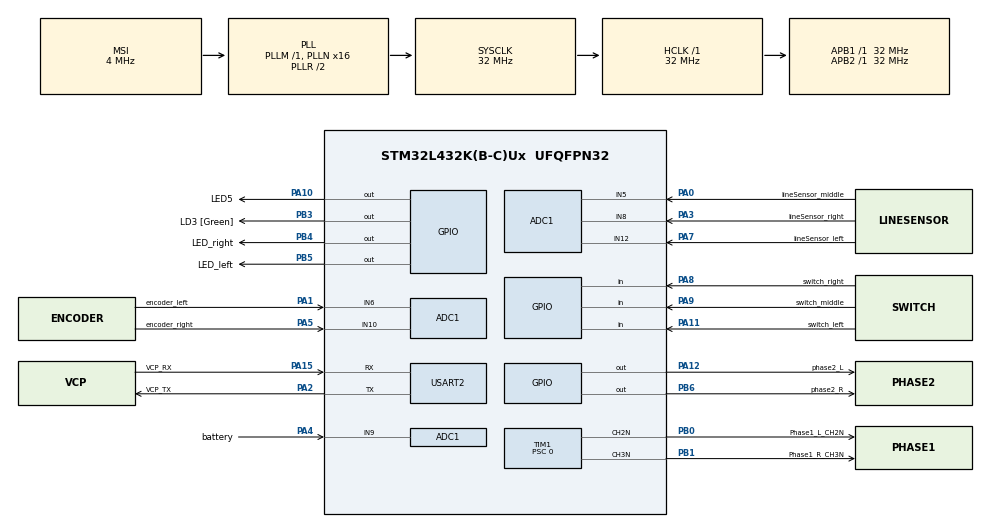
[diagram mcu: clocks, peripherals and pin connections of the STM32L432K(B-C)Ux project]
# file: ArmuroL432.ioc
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ADC1.Channel-0\#ChannelRegularConversion=ADC_CHANNEL_5
ADC1.Channel-1\#ChannelRegularConversion=ADC_CHANNEL_6
ADC1.Channel-2\#ChannelRegularConversion=ADC_CHANNEL_8
ADC1.Channel-3\#ChannelRegularConversion=ADC_CHANNEL_9
ADC1.Channel-4\#ChannelRegularConversion=ADC_CHANNEL_10
ADC1.Channel-5\#ChannelRegularConversion=ADC_CHANNEL_12
ADC1.ClockPrescaler=ADC_CLOCK_ASYNC_DIV4
ADC1.ContinuousConvMode=ENABLE
ADC1.EOCSelection=ADC_EOC_SEQ_CONV
ADC1.NbrOfConversion=6
ADC1.NbrOfConversionFlag=1
ADC1.OffsetNumber-0\#ChannelRegularConversion=ADC_OFFSET_NONE
ADC1.OffsetNumber-1\#ChannelRegularConversion=ADC_OFFSET_NONE
ADC1.OffsetNumber-2\#ChannelRegularConversion=ADC_OFFSET_NONE
ADC1.OffsetNumber-3\#ChannelRegularConversion=ADC_OFFSET_NONE
ADC1.OffsetNumber-4\#ChannelRegularConversion=ADC_OFFSET_NONE
ADC1.OffsetNumber-5\#ChannelRegularConversion=ADC_OFFSET_NONE
ADC1.Rank-0\#ChannelRegularConversion=1
ADC1.Rank-1\#ChannelRegularConversion=2
ADC1.Rank-2\#ChannelRegularConversion=3
ADC1.Rank-3\#ChannelRegularConversion=4
ADC1.Rank-4\#ChannelRegularConversion=5
ADC1.Rank-5\#ChannelRegularConversion=6
ADC1.SamplingTime-0\#ChannelRegularConversion=ADC_SAMPLETIME_2CYCLES_5
ADC1.SamplingTime-1\#ChannelRegularConversion=ADC_SAMPLETIME_2CYCLES_5
ADC1.SamplingTime-2\#ChannelRegularConversion=ADC_SAMPLETIME_2CYCLES_5
ADC1.SamplingTime-3\#ChannelRegularConversion=ADC_SAMPLETIME_2CYCLES_5
ADC1.SamplingTime-4\#ChannelRegularConversion=ADC_SAMPLETIME_2CYCLES_5
ADC1.SamplingTime-5\#ChannelRegularConversion=ADC_SAMPLETIME_2CYCLES_5
ADC1.master=1
Dma.ADC1.0.Direction=DMA_PERIPH_TO_MEMORY
Dma.ADC1.0.Instance=DMA1_Channel1
Dma.ADC1.0.MemDataAlignment=DMA_MDATAALIGN_WORD
Dma.ADC1.0.MemInc=DMA_MINC_ENABLE
Dma.ADC1.0.Mode=DMA_CIRCULAR
Dma.ADC1.0.PeriphDataAlignment=DMA_PDATAALIGN_WORD
Dma.ADC1.0.PeriphInc=DMA_PINC_DISABLE
Dma.ADC1.0.Priority=DMA_PRIORITY_LOW
Dma.Request0=ADC1
Mcu.Family=STM32L4
Mcu.Name=STM32L432K(B-C)Ux
Mcu.Package=UFQFPN32
NVIC.DMA1_Channel1_IRQn=true\:0\:0\:false\:false\:true\:false\:true\:true
NVIC.PriorityGroup=NVIC_PRIORITYGROUP_4
PA0.GPIO_Label=lineSensor_middle
PA0.Signal=ADCx_IN5
PA1.GPIO_Label=encoder_left
PA1.Signal=ADCx_IN6
PA10.GPIO_Label=LED5
PA10.Signal=GPIO_Output
PA11.GPIO_Label=switch_left
PA11.Signal=GPIO_Input
PA12.GPIO_Label=phase2_L
PA12.PinState=GPIO_PIN_RESET
PA12.Signal=GPIO_Output
PA13\ (JTMS-SWDIO).GPIO_Label=SWDIO
PA13\ (JTMS-SWDIO).Mode=Serial_Wire
PA13\ (JTMS-SWDIO).Signal=SYS_JTMS-SWDIO
PA14\ (JTCK-SWCLK).GPIO_Label=SWCLK
PA14\ (JTCK-SWCLK).Mode=Serial_Wire
PA14\ (JTCK-SWCLK).Signal=SYS_JTCK-SWCLK
PA15\ (JTDI).GPIO_Label=VCP_RX
PA15\ (JTDI).Mode=Asynchronous
PA15\ (JTDI).Signal=USART2_RX
PA2.GPIO_Label=VCP_TX
PA2.Mode=Asynchronous
PA2.Signal=USART2_TX
PA3.GPIO_Label=lineSensor_right
PA3.Signal=ADCx_IN8
PA4.GPIO_Label=battery
PA4.Signal=ADCx_IN9
PA5.GPIO_Label=encoder_right
PA5.Signal=ADCx_IN10
PA7.GPIO_Label=lineSensor_left
PA7.Signal=ADCx_IN12
PA8.GPIO_Label=switch_right
PA8.Signal=GPIO_Input
PA9.GPIO_Label=switch_middle
PA9.Signal=GPIO_Input
PB0.GPIO_Label=Phase1_L_CH2N
PB0.Mode=PWM Generation2 CH2N
PB0.Signal=TIM1_CH2N
PB1.GPIO_Label=Phase1_R_CH3N
PB1.Mode=PWM Generation3 CH3N
PB1.Signal=TIM1_CH3N
PB3\ (JTDO-TRACESWO).GPIO_Label=LD3 [Green]
PB3\ (JTDO-TRACESWO).Signal=GPIO_Output
PB4\ (NJTRST).GPIO_Label=LED_right
PB4\ (NJTRST).Signal=GPIO_Output
PB5.GPIO_Label=LED_left
PB5.Signal=GPIO_Output
PB6.GPIO_Label=phase2_R
PB6.Signal=GPIO_Output
PC14-OSC32_IN\ (PC14).Mode=LSE-External-Oscillator
PC14-OSC32_IN\ (PC14).Signal=RCC_OSC32_IN
PC15-OSC32_OUT\ (PC15).Mode=LSE-External-Oscillator
PC15-OSC32_OUT\ (PC15).Signal=RCC_OSC32_OUT
ProjectManager.HeapSize=0x200
ProjectManager.StackSize=0x400
ProjectManager.TargetToolchain=STM32CubeIDE
RCC.ADCFreq_Value=32000000
RCC.AHBFreq_Value=32000000
RCC.APB1Freq_Value=32000000
RCC.APB1TimFreq_Value=32000000
RCC.APB2Freq_Value=32000000
RCC.APB2TimFreq_Value=32000000
RCC.CortexFreq_Value=32000000
RCC.HCLKFreq_Value=32000000
RCC.HSE_VALUE=8000000
RCC.HSI16_VALUE=16000000
RCC.HSI48_VALUE=48000000
RCC.HSI_VALUE=16000000
RCC.MSI_VALUE=4000000
RCC.PLLMUL=RCC_PLLMUL_4
RCC.PLLN=16
RCC.PLLSAI1N=16
RCC.SYSCLKFreq_VALUE=32000000
RCC.SYSCLKSource=RCC_SYSCLKSOURCE_PLLCLK
RCC.USBFreq_Value=32000000
RCC.VCOOutputFreq_Value=64000000
SH.ADCx_IN10.0=ADC1_IN10,IN10-Single-Ended
SH.ADCx_IN12.0=ADC1_IN12,IN12-Single-Ended
SH.ADCx_IN5.0=ADC1_IN5,IN5-Single-Ended
SH.ADCx_IN6.0=ADC1_IN6,IN6-Single-Ended
SH.ADCx_IN8.0=ADC1_IN8,IN8-Single-Ended
SH.ADCx_IN9.0=ADC1_IN9,IN9-Single-Ended
TIM1.AutoReloadPreload=TIM_AUTORELOAD_PRELOAD_ENABLE
TIM1.Channel-PWM\ Generation2\ CH2N=TIM_CHANNEL_2
TIM1.Channel-PWM\ Generation3\ CH3N=TIM_CHANNEL_3
TIM1.ClockDivision=TIM_CLOCKDIVISION_DIV1
TIM1.OCFastMode_PWM-PWM\ Generation2\ CH2N=TIM_OCFAST_DISABLE
TIM1.OCFastMode_PWM-PWM\ Generation3\ CH3N=TIM_OCFAST_DISABLE
TIM1.OCNPolarity_2=TIM_OCNPOLARITY_HIGH
TIM1.Period=65535
TIM1.Prescaler=0
TIM1.Pulse-PWM\ Generation2\ CH2N=0
TIM1.Pulse-PWM\ Generation3\ CH3N=0
USART2.VirtualMode-Asynchronous=VM_ASYNC
VP_TIM1_VS_ClockSourceINT.Mode=Internal
board=NUCLEO-L432KC

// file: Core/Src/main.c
/* USER CODE BEGIN Header */
/**
 ******************************************************************************
 * @file           : main.c
 * @brief          : Main program body
 ******************************************************************************
 * @attention
 *
 * Copyright (c) 2024 STMicroelectronics.
 * All rights reserved.
 *
 * This software is licensed under terms that can be found in the LICENSE file
 * in the root directory of this software component.
 * If no LICENSE file comes with this software, it is provided AS-IS.
 *
 ******************************************************************************
 */
/* USER CODE END Header */
#include "main.h"
#include "adc.h"
#include "dma.h"
#include "tim.h"
#include "usart.h"
#include "gpio.h"
#include <string.h>
#include <stdio.h>
#include <math.h>

/* USER CODE BEGIN PD */
#define ERROR_SIZE 10

#define BLACK_THRESHHOLD 1000

#define ENCODER_UPPER_BOUND_RIGHT 2500
#define ENCODER_LOWER_BOUND_RIGHT 1500

#define ENCODER_UPPER_BOUND_LEFT 3100
#define ENCODER_LOWER_BOUND_LEFT 2600

#define LINE_SENSOR_BLACK 3000

// Values at home
//#define LINE_SENSOR_LEFT_OFFSET 800
//#define LINE_SENSOR_MIDDLE_OFFSET 400
//#define LINE_SENSOR_RIGHT_OFFSET 1400

#define LINE_SENSOR_LEFT_OFFSET 900
#define LINE_SENSOR_MIDDLE_OFFSET 400
#define LINE_SENSOR_RIGHT_OFFSET 1500

#define max(a,b) \
   ({ __typeof__ (a) _a = (a); \
       __typeof__ (b) _b = (b); \
     _a > _b ? _a : _b; })

typedef enum {
	LEFT, RIGHT
} directionEnum;

const int maxSpeed = 65535; // Maximaler PWM-Wert
const int minSpeed = 0; // Minimaler PWM-Wert
/* USER CODE END PD */

/* USER CODE BEGIN PV */
static int speedLeft = 0;
static int speedRight = 0;

int EncoderTicksLeft = 0;
int EncoderTicksRight = 0;

static int EncoderStateLeft = 0;
static int EncoderStateRight = 0;

/* USER CODE END PV */

void SystemClock_Config(void);

/* USER CODE BEGIN 0 */

/* Funktionen zur Motoransteuerung (Teilaufgabe 2)
 *
 * Separate Funktionen für links und rechts
 *
 * Der Parameter speed muss im Bereich -65535 - 65535 liegen.
 * Negativ = Rückwärts, Positiv = Forwärts
 *
 * */

void setSpeedLeft(int speed) {
	speedLeft = speed;
	if (speed == 0) {
		HAL_GPIO_WritePin(GPIOA, phase2_L_Pin, 0);
		TIM1->CCR2 = 0;
		return;

	}
	if (speed > 0) {
		HAL_GPIO_WritePin(GPIOA, phase2_L_Pin, 1);
		TIM1->CCR2 = 65536 - speed;
		return;
	}

	HAL_GPIO_WritePin(GPIOA, phase2_L_Pin, 0);
	TIM1->CCR2 = -speed;
	return;

}

void setSpeedRight(int speed) {
	speedRight = speed;
	if (speed == 0) {
		HAL_GPIO_WritePin(GPIOB, phase2_R_Pin, 0);
		TIM1->CCR3 = 0;
		return;

	}
	if (speed > 0) {
		HAL_GPIO_WritePin(GPIOB, phase2_R_Pin, 0);
		TIM1->CCR3 = speed;
		return;
	}

	HAL_GPIO_WritePin(GPIOB, phase2_R_Pin, 1);
	TIM1->CCR3 = 65536 + speed;
	return;

}

void setSpeed(int speed) {
	setSpeedLeft(speed);
	setSpeedRight(speed);
}

/* Funktion um Motoransteuerungsmethoden zu demonstrieren
 * */
void driveDemo() {
	int speed = 30000;

	while (speed > 0) {
		setSpeedLeft(speed);
		setSpeedRight(speed);
		speed -= 10000;
		HAL_Delay(1000);
	}
	speed = -30000;

	while (speed < 0) {
		setSpeed_left(speed);
		setSpeed_right(speed);
		speed += 10000;
		HAL_Delay(1000);
	}
}

// Aus Übungsblatt 3
volatile uint32_t adc[6];
uint32_t buffer[6];
volatile uint8_t conversion_done_flag = 1;
void HAL_ADC_ConvCpltCallback(ADC_HandleTypeDef *hadc1) {
	for (int i = 0; i < 6; i++) {
		adc[i] = buffer[i];
	}
	conversion_done_flag = 1;
}

static uint64_t encoderTimeoutTicks = 0;
const int encoderDelay = 1;
void processEncoder() {

	switch (EncoderStateLeft) {
	case 0:
		if (adc[1] >= ENCODER_UPPER_BOUND_LEFT) {
			EncoderTicksLeft++;
			EncoderStateLeft = 1;
		}
		break;
	case 1:
		if (adc[1] <= ENCODER_LOWER_BOUND_LEFT) {
			EncoderTicksLeft++;
			EncoderStateLeft = 0;
		}
		break;

	}
	switch (EncoderStateRight) {
	case 0:
		if (adc[4] >= ENCODER_UPPER_BOUND_RIGHT) {
			EncoderTicksRight++;
			EncoderStateRight = 1;
		}
		break;
	case 1:
		if (adc[4] <= ENCODER_LOWER_BOUND_RIGHT) {
			EncoderTicksRight++;
			EncoderStateRight = 0;
		}
		break;
	}
}

void processEncoderCoop() {
	uint64_t currentTicks = HAL_GetTick();
	if (currentTicks - encoderTimeoutTicks < encoderDelay)
		return;
	encoderTimeoutTicks = currentTicks;

	processEncoder();
}

/* Funktion zur konvertierung von dem adc-Array zum csv-format mit "," als Trennungszeichen
 * str muss groß genug sein um das gesamte adc-Array zu konvertieren (keine safety checks)
 * */
uint16_t adcToCsv(char *str) {
	uint16_t len = 0;
	char buf[16];

	str[0] = '\0';

	for (int i = 0; i < 6; i++) {
		len += sprintf((char*) buf, "%d", adc[i]) + 1;
		strcat(str, buf);
		strcat(str, ",");
	}

	str[len - 1] = '\n';
	return len;
}

uint16_t EncoderTicksToStr(char *str) {
	uint16_t len = 0;
	char buf[50];

	len += sprintf((char*) str, "Left Encoder Ticks: %d, ", EncoderTicksLeft);
	len += sprintf((char*) buf, "Right Encoder Ticks: %d, ", EncoderTicksRight);
	strcat(str, buf);
	len += sprintf((char*) buf, "%d,", EncoderTicksLeft / 24);
	strcat(str, buf);
	len += sprintf((char*) buf, "%d", EncoderTicksRight / 24);
	strcat(str, buf);
	str[len] = '\n';
	return len + 1;
}

uint16_t EncoderToStr(char *str) {
	uint16_t len = 0;
	char buf[50];

	len += sprintf((char*) str, "%d,", adc[1]);
	len += sprintf((char*) buf, "%d", adc[4]);
	strcat(str, buf);
	str[len] = '\n';
	return len + 1;
}

uint16_t LineSensorToStr(char *str) {
	uint16_t len = 0;
	char buf[50];

	len += sprintf((char*) str, "%d, ", adc[5]);
	len += sprintf((char*) buf, "%d, ", adc[0]);
	strcat(str, buf);
	len += sprintf((char*) buf, "%d", adc[2]);
	strcat(str, buf);
	str[len] = '\n';
	return len + 1;
}

uint16_t LineSensorStateToStr(char *str) {
	int ileft = adc[5] - LINE_SENSOR_LEFT_OFFSET;
	int imiddle = adc[0] - LINE_SENSOR_MIDDLE_OFFSET;
	int iright = adc[2] - LINE_SENSOR_RIGHT_OFFSET;

	char left = ileft < BLACK_THRESHHOLD ? 'w' : 'b';
	char middle = imiddle < BLACK_THRESHHOLD ? 'w' : 'b';
	char right = iright < BLACK_THRESHHOLD ? 'w' : 'b';

	uint16_t len = 0;
	char buf[50];

	len += sprintf((char*) str, "%c, ", left);
	len += sprintf((char*) buf, "%c, ", middle);
	strcat(str, buf);
	len += sprintf((char*) buf, "%c, ", right);
	strcat(str, buf);
	len += sprintf((char*) buf, "%d, ", ileft);
	strcat(str, buf);
	len += sprintf((char*) buf, "%d, ", imiddle);
	strcat(str, buf);
	len += sprintf((char*) buf, "%d", iright);
	strcat(str, buf);
	str[len] = '\n';
	return len + 1;

}

const int equalizerDelay = 5;
const int tickSpeedRatio = 300;
const int rightAttenuation = 7; // 65535 pwm = 58 Ticks/s => 1130 pwm = 1 Tick/s
static uint64_t rightcounter = 0;
static uint64_t equalizerTimeoutTicks = 0;
void equalizeEncoderTicks(int speed) {

	int difference = EncoderTicksRight - EncoderTicksLeft;
	int correction = difference * tickSpeedRatio;
	// Neue Geschwindigkeiten berechnen
	int newSpeedLeft = (speed + correction);
	int newSpeedRight = (speed - correction);

	rightcounter++;

	//EncoderTicksRight -= rightcounter % (rightAttenuation * (int)sqrt(rightcounter))  == 0 ? 1 : 0;

	// Geschwindigkeiten setzen
	setSpeedLeft(newSpeedLeft);
	setSpeedRight(newSpeedRight);

}

void equalizeEncoderTicksCoop(int speed) {
	uint64_t ticks = HAL_GetTick();
	if (ticks - equalizerTimeoutTicks < equalizerDelay)
		return;
	equalizerTimeoutTicks = ticks;

	equalizeEncoderTicks(speed);
}

static uint64_t straightTimeoutTicks = 0;
const int straightDelay = 100;
const float centimetersPerTick = 0.52359f; // 4*PI / 24
const float millimetersPerTick = 5.2359f;

int checkStraightDistance(int distance) {
	return (((float) (EncoderTicksRight)) * millimetersPerTick
			>= (float) distance);
}

static int executedDriveStraight = 0;
int driveStraight(int distance, int speed) {
	if (!executedDriveStraight) {
		EncoderTicksLeft = 0;
		EncoderTicksRight = 0;
		setSpeed(speed);
		executedDriveStraight = 1;
	}

//	equalizeEncoderTicks(speed);

	if (!checkStraightDistance(distance))
		return 0;

	setSpeed(0);
	return 1;
}

int driveStraightCoop(int distance, int speed) {
	uint64_t ticks = HAL_GetTick();
	if (ticks - straightTimeoutTicks < straightDelay)
		return 0;
	straightTimeoutTicks = ticks;

	return driveStraight(distance, speed);

}

const float degreesPerTick = 7.7922; //with wheel Distance of 7.7cm
const float attenuation = 1.f;
const float tolerance = 0.5f;
int checkTurningAngle(int ticksPerTurn, int leftBias, int rightBias) {
//	int done = 0;
//	if (EncoderTicksLeft >= ticksPerTurn + leftBias)
//	{
//		setSpeedLeft(0);
//		done++;
//	}
	if (EncoderTicksRight >= ticksPerTurn + rightBias) {
		setSpeed(0);
		return 1;
	}
	return 0;
}

uint64_t turnTimeoutTicks = 0;
int turnDelay = 20;
int stopEncoder = 0;

static int executedTurnDegrees = 0;

int turnDegrees(float degrees, int leftBias, int rightBias,
		directionEnum direction, int speed) {
	static int ticksPerTurn = 0;

	if (!executedTurnDegrees) {
		EncoderTicksLeft = 0;
		EncoderTicksRight = 0;
		switch (direction) {
		case LEFT: {

			setSpeedLeft(-speed);
			setSpeedRight(speed);

		}
			break;
		case RIGHT: {

			setSpeedLeft(speed);
			setSpeedRight(-speed);

		}
			break;
		}

		ticksPerTurn = (int) ceil(degrees / degreesPerTick);
		executedTurnDegrees = 1;
	}

	if (!checkTurningAngle(ticksPerTurn, leftBias, rightBias))
		return 0;

	setSpeed(0);
	return 1;
}

int turnDegreesCoop(float degrees, int leftBias, int rightBias,
		directionEnum direction, int speed) {
	uint64_t ticks = HAL_GetTick();
	if (ticks - turnTimeoutTicks < turnDelay)
		return 0;
	turnTimeoutTicks = ticks;

	return turnDegrees(degrees, leftBias, rightBias, direction, speed);
}

static int ticksToTurn = 0;
static int executedTurnDegreesSingle = 0;
int turnDegreesSingle(float degrees, int leftBias, int rightBias,
		directionEnum direction, int speed) {
	uint64_t ticks = HAL_GetTick();
	if (ticks - turnTimeoutTicks < turnDelay)
		return 0;
	turnTimeoutTicks = ticks;

	if (!executedTurnDegreesSingle) {
		EncoderTicksLeft = 0;
		EncoderTicksRight = 0;
		switch (direction) {
		case LEFT: {

			setSpeedRight(speed);

		}
			break;
		case RIGHT: {

			setSpeedLeft(speed);
		}
			break;
		}

		ticksToTurn = 2 * (int) ceil(degrees / degreesPerTick);
		executedTurnDegreesSingle = 1;
	}

	if ((EncoderTicksLeft >= ticksToTurn + leftBias)
			|| (EncoderTicksRight >= ticksToTurn + rightBias)) {
		setSpeed(0);
		executedTurnDegreesSingle = 0;

		return 1;
	}
	return 0;

}

int drivePreprogrammedRouteCoop(int speed) {
	static int step = 1;
	switch (step) {
	case 1:
		if (!driveStraightCoop(500, speed))
			return 0;
		step++;
		executedDriveStraight = 0;
		break;
	case 2:
		if (!turnDegreesCoop(140.f, 0, 0, RIGHT, speed))
			return 0;
		step++;
		executedTurnDegrees = 0;
		break;
	case 3:
		if (!driveStraightCoop(443, speed))
			return 0;
		step++;
		executedDriveStraight = 0;
		break;
	case 4:
		if (!turnDegreesCoop(110.f, 0, 0, LEFT, speed))
			return 0;
		step++;
		executedTurnDegrees = 0;
		break;
	case 5:
		if (!driveStraightCoop(245, speed))
			return 0;
		step++;
		executedDriveStraight = 0;
		break;
	case 6:
		return 1;
		break;
	}
	return 0;
}

int isOnLine() {
	int left = adc[5] - LINE_SENSOR_LEFT_OFFSET;
	int middle = adc[0] - LINE_SENSOR_MIDDLE_OFFSET;
	int right = adc[2] - LINE_SENSOR_RIGHT_OFFSET;

	int leftState = left < BLACK_THRESHHOLD;
	int middleState = middle < BLACK_THRESHHOLD;
	int rightState = right < BLACK_THRESHHOLD;

	return !(leftState && middleState && rightState);
}

// returns 0 when no line was found and 1 if otherwise

const float kp = 1/2;
const float ki = 0;
const float kd = 0;
int prevErrors[ERROR_SIZE] = { 0 };
int onlyMiddles[ERROR_SIZE] = { 0 };
static int prevMiddleCount = 0;
static int previError = 0;
static int errorIdx = 0;
static int errorThresh = 1500;

int followLine(int speed) {
	int left = adc[5] - LINE_SENSOR_LEFT_OFFSET;
	int middle = adc[0] - LINE_SENSOR_MIDDLE_OFFSET;
	int right = adc[2] - LINE_SENSOR_RIGHT_OFFSET;

	int leftState = left < BLACK_THRESHHOLD;
	int middleState = middle < BLACK_THRESHHOLD;
	int rightState = right < BLACK_THRESHHOLD;

	if (leftState && middleState && rightState && (errorIdx == 0))
		return 0;

	// Falls alle Werte ~ 0 sind, dann findTrack()

	int pError = left - right;

	// Integral error calculation
	int iError = previError + pError - prevErrors[errorIdx];

	// Update the previous error
	previError = iError;

	// Store the current proportional error
	prevErrors[errorIdx] = pError;

	int currentMiddle = (!middleState && leftState && rightState);
	prevMiddleCount = prevMiddleCount - onlyMiddles[errorIdx] + currentMiddle;
	onlyMiddles[errorIdx] = currentMiddle;

	// Update the error index using modulo to wrap around
	errorIdx = (errorIdx + 1) % ERROR_SIZE;

	// Derivative error calculation
	int prevErrorIdx = (errorIdx == 0) ? (ERROR_SIZE - 1) : (errorIdx - 1);
	int dError = pError - prevErrors[prevErrorIdx];

	// Calculate the correction
	int correction = (int) (kp * (float) pError) + (int) (ki * (float) iError)
			+ (int) (kd * (float) dError);

	// Set motor speeds
	if (pError >= errorThresh) {
		setSpeedLeft(0);
		setSpeedRight(speed + correction);
	} else if (pError <= -errorThresh) {
		setSpeedLeft(speed - correction);
		setSpeedRight(0);

	} else {
		setSpeedLeft(speed - correction);
		setSpeedRight(speed + correction);
	}

	return 1;
}

static int searchState = 0;
static directionEnum firstDirection = RIGHT;
const int middleThresh = 3;
int searchLine(int speed) {

	switch (searchState) {
	case 0:
		setSpeed(0);
		if (prevMiddleCount > middleThresh) {
			searchState = 5;
			break;
		}

		firstDirection = previError > 0 ? LEFT : RIGHT;
		searchState = 1;
		break;
	case 1:

		if (!turnDegreesSingle(100.f, 0, 0, firstDirection, speed)) {
			if (isOnLine()) {

				setSpeed(0);
				executedTurnDegreesSingle = 0;
				return 1;
			}
			return 0;
		}
		searchState++;

		break;
	case 2:

		if (!turnDegreesSingle(100.f, 0, 0, firstDirection, -speed)) {
			return 0;
		}
		searchState++;
		break;
	case 3:

		if (!turnDegreesSingle(100.f, 0, 0, (firstDirection + 1) % 2, speed)) {
			if (isOnLine()) {

				setSpeed(0);
				executedTurnDegreesSingle = 0;
				return 1;
			}
			return 0;
		}
		searchState++;

		break;
	case 4:

		if (!turnDegreesSingle(100.f, 0, 0, (firstDirection + 1) % 2, -speed)) {
			return 0;
		}
		searchState++;
		break;

	case 5:
		if (!driveStraight(100, speed)) {
			if (isOnLine()) {

				setSpeed(0);
				executedDriveStraight = 0;
				return 1;
			}
			return 0;
		}
		executedDriveStraight = 0;
		searchState++;
		break;
	default:
		return 1;
	}
	return 0;
}

int touchesSensor() {
	if (!HAL_GPIO_ReadPin(GPIOA, switch_left_Pin))
		return 1;
	if (!HAL_GPIO_ReadPin(GPIOA, switch_middle_Pin))
		return 0;
	if (!HAL_GPIO_ReadPin(GPIOA, switch_right_Pin))
		return 0;
	else
		return 2;
}

static int avoidState = 0;
int avoidObstacle(directionEnum direction, int speed) {
int turnSpeed = 50000;
	switch (avoidState) {
	case 0:
		if (!driveStraight(10, -speed)) {
			return 0;
		}
		executedDriveStraight = 0;
		avoidState++;
		break;
	case 1:
		if (!turnDegrees(50.f, 0, 0, direction, turnSpeed)) {
			return 0;
		}
		executedTurnDegrees = 0;
		avoidState++;
		break;
	case 2:
		if (!driveStraight(160, speed)) {
			return 0;
		}
		executedDriveStraight = 0;
		avoidState++;
		break;
	case 3:
		if (!turnDegrees(50.f, 0, 0, (direction + 1) % 2, turnSpeed)) {
			return 0;
		}
		executedTurnDegrees = 0;
		avoidState++;
		break;
	case 4:
		if (!driveStraight(100, speed)) {
			return 0;
		}
		executedDriveStraight = 0;
		avoidState++;
		break;

	case 5:
		if (!turnDegrees(50.f, 0, 0, (direction + 1) % 2, turnSpeed)) {
			return 0;
		}
		executedTurnDegrees = 0;
		avoidState++;
		break;

	case 6:
		if (!driveStraight(200, speed)) {
			if (isOnLine()) {
				setSpeed(0);
				executedDriveStraight = 0;
				return 1;
			}
			return 0;
		}
		executedDriveStraight = 0;
		avoidState++;
		break;
	case 7:
		return 1;
	}
	return 0;
}

uint64_t followTimeoutTicks = 0;
int followDelay = 5;
void followLineCoop(int speed) {
	uint64_t ticks = HAL_GetTick();
	if (ticks - followTimeoutTicks < followDelay)
		return;
	turnTimeoutTicks = ticks;
	followLine(speed);

}

void taskFollowLine(int speed) {
	static int followState = 0;

	int touchState = touchesSensor();
	static directionEnum direction = LEFT;
	if (touchState != 2) {
		followState = 2;
		direction = touchState;

	}
	switch (followState) {
	case 0:
		if (!followLine(speed))
			followState++;
		break;
	case 1:
		if (searchLine(speed) == 0)
			break;
		else {
			followState = 0;
			searchState = 0;
		}
		break;
	case 2:
		if (!avoidObstacle(direction, speed))
			break;
		followState = 0;
		avoidState = 0;
		break;
	}
}

static int courseState = 0;
void driveCourse(int speed) {

	switch (courseState) {
	case 0:
		if (!drivePreprogrammedRouteCoop(40000))
			break;
		courseState++;
		break;
	case 1:
		taskFollowLine(speed);
		break;
	}

}

void task1() {
	processEncoder();
	setSpeed(30000);
	//driveStraightCoop(8000, 40000);
	char sendbuf[500];
	uint16_t size = EncoderToStr(sendbuf);

	HAL_UART_Transmit(&huart2, (uint8_t*) sendbuf, size, 10000);
	HAL_Delay(2);
//	processEncoder();
//	taskFollowLine(40000);
//	HAL_GPIO_WritePin(GPIOB, LED_left_Pin, isOnLine());
////	HAL_GPIO_WritePin(GPIOB, LED_left_Pin, isOnLine());

}

void task2() {
//	char sendbuf[500];
//	uint16_t size = LineSensorToStr(sendbuf);
//
//	HAL_UART_Transmit(&huart2, (uint8_t*)sendbuf, size, 10000);
//	HAL_Delay(5);
	processEncoder();
//	taskFollowLine(60000);
	driveCourse(60000);
	HAL_GPIO_WritePin(GPIOB, LED_left_Pin, isOnLine());
//
//	char sendbuf[500];
//	uint16_t size = EncoderTicksToStr(sendbuf);
//
//	HAL_UART_Transmit(&huart2, (uint8_t*)sendbuf, size, 10000);
	//searchLine(30000);
}

void task3() {

	processEncoder();
	taskFollowLine(60000);
//	driveCourse(60000);
	HAL_GPIO_WritePin(GPIOB, LED_left_Pin, isOnLine());

}

/* USER CODE END 0 */

int main(void) {

	/* MCU Configuration--------------------------------------------------------*/

	/* Reset of all peripherals, Initializes the Flash interface and the Systick. */
	HAL_Init();

	/* Configure the system clock */
	SystemClock_Config();

	/* Initialize all configured peripherals */
	MX_GPIO_Init();
	MX_DMA_Init();
	MX_USART2_UART_Init();
	MX_ADC1_Init();
	MX_TIM1_Init();
	/* USER CODE BEGIN 2 */
	HAL_TIMEx_PWMN_Start(&htim1, TIM_CHANNEL_2);
	HAL_TIMEx_PWMN_Start(&htim1, TIM_CHANNEL_3);

	//HAL_ADCEx_Calibration_Start(&hadc1, ADC_SINGLE_ENDED);

	//setSpeedLeft(40000);
	//setSpeedRight(40000);
	/* USER CODE END 2 */

	/* Infinite loop */
	/* USER CODE BEGIN WHILE */
	void (*taskPtr)(void) = 0;

	while (1) {
		if (!HAL_GPIO_ReadPin(GPIOA, switch_left_Pin)) {
			taskPtr = &task1;
			break;
		}
		if (!HAL_GPIO_ReadPin(GPIOA, switch_middle_Pin)) {
			taskPtr = &task2;
			break;
		}
		if (!HAL_GPIO_ReadPin(GPIOA, switch_right_Pin)) {
			taskPtr = &task3;
			break;
		}

	}
	HAL_Delay(2000);
	while (1) {

		/* USER CODE END WHILE */

		/* USER CODE BEGIN 3 */

		if (conversion_done_flag) {
			conversion_done_flag = 0;
			HAL_ADC_Start_DMA(&hadc1, buffer, 6);
		}

		taskPtr();

		//turnDegreesCoop(90.f,0,0, LEFT, 40000);

		//equalizeEncoderTicksCoop(30000);

//	char sendbuf[500];
//	uint16_t size = EncoderTicksToStr(sendbuf);
//
//	HAL_UART_Transmit(&huart2, (uint8_t*)sendbuf, size, 10000);
		//HAL_Delay(5);

		//taskLED();
		//HAL_GPIO_WritePin(GPIOB, LED_left_Pin, taskLED_state);

	}
	/* USER CODE END 3 */
}

void SystemClock_Config(void) {
	RCC_OscInitTypeDef RCC_OscInitStruct = { 0 };
	RCC_ClkInitTypeDef RCC_ClkInitStruct = { 0 };

	/** Configure the main internal regulator output voltage
	 */
	if (HAL_PWREx_ControlVoltageScaling(PWR_REGULATOR_VOLTAGE_SCALE1)
			!= HAL_OK) {
		Error_Handler();
	}

	/** Configure LSE Drive Capability
	 */
	HAL_PWR_EnableBkUpAccess();
	__HAL_RCC_LSEDRIVE_CONFIG(RCC_LSEDRIVE_LOW);

	/** Initializes the RCC Oscillators according to the specified parameters
	 * in the RCC_OscInitTypeDef structure.
	 */
	RCC_OscInitStruct.OscillatorType = RCC_OSCILLATORTYPE_LSE
			| RCC_OSCILLATORTYPE_MSI;
	RCC_OscInitStruct.LSEState = RCC_LSE_ON;
	RCC_OscInitStruct.MSIState = RCC_MSI_ON;
	RCC_OscInitStruct.MSICalibrationValue = 0;
	RCC_OscInitStruct.MSIClockRange = RCC_MSIRANGE_6;
	RCC_OscInitStruct.PLL.PLLState = RCC_PLL_ON;
	RCC_OscInitStruct.PLL.PLLSource = RCC_PLLSOURCE_MSI;
	RCC_OscInitStruct.PLL.PLLM = 1;
	RCC_OscInitStruct.PLL.PLLN = 16;
	RCC_OscInitStruct.PLL.PLLP = RCC_PLLP_DIV7;
	RCC_OscInitStruct.PLL.PLLQ = RCC_PLLQ_DIV2;
	RCC_OscInitStruct.PLL.PLLR = RCC_PLLR_DIV2;
	if (HAL_RCC_OscConfig(&RCC_OscInitStruct) != HAL_OK) {
		Error_Handler();
	}

	/** Initializes the CPU, AHB and APB buses clocks
	 */
	RCC_ClkInitStruct.ClockType = RCC_CLOCKTYPE_HCLK | RCC_CLOCKTYPE_SYSCLK
			| RCC_CLOCKTYPE_PCLK1 | RCC_CLOCKTYPE_PCLK2;
	RCC_ClkInitStruct.SYSCLKSource = RCC_SYSCLKSOURCE_PLLCLK;
	RCC_ClkInitStruct.AHBCLKDivider = RCC_SYSCLK_DIV1;
	RCC_ClkInitStruct.APB1CLKDivider = RCC_HCLK_DIV1;
	RCC_ClkInitStruct.APB2CLKDivider = RCC_HCLK_DIV1;

	if (HAL_RCC_ClockConfig(&RCC_ClkInitStruct, FLASH_LATENCY_1) != HAL_OK) {
		Error_Handler();
	}

	/** Enable MSI Auto calibration
	 */
	HAL_RCCEx_EnableMSIPLLMode();
}

void Error_Handler(void) {
	__disable_irq();
	while (1) {
	}
}
